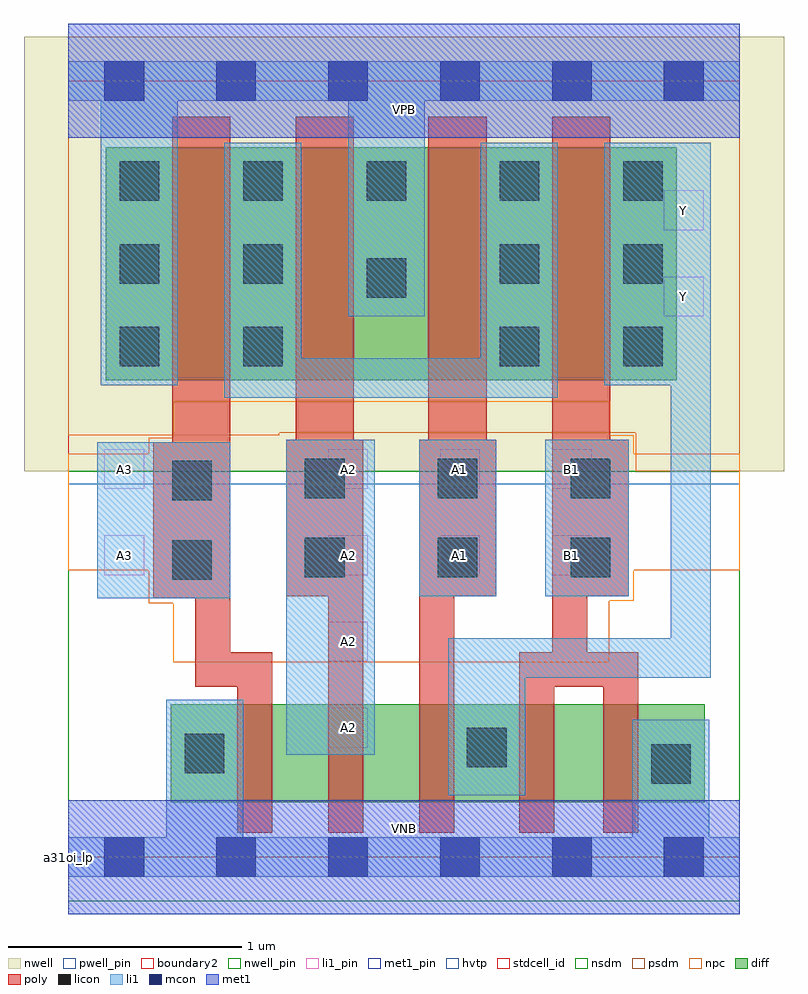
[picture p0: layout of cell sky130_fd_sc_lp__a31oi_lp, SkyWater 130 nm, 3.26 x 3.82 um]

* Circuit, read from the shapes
.subckt sky130_fd_sc_lp__a31oi_lp A1 A2 A3 B1 VGND VNB VPB VPWR Y
XM1 n1 A3 VGND VNB sky130_fd_pr__nfet_01v8 w=0.42 l=0.15
XM2 n2 A2 n1 VNB sky130_fd_pr__nfet_01v8 w=0.42 l=0.15
XM3 Y A1 n2 VNB sky130_fd_pr__nfet_01v8 w=0.42 l=0.15
XM4 n3 B1 Y VNB sky130_fd_pr__nfet_01v8 w=0.42 l=0.15
XM5 VGND B1 n3 VNB sky130_fd_pr__nfet_01v8 w=0.42 l=0.15
XM6 n4 A3 VPWR VPB sky130_fd_pr__pfet_01v8_hvt w=1 l=0.25
XM7 VPWR A2 n4 VPB sky130_fd_pr__pfet_01v8_hvt w=1 l=0.25
XM8 n4 A1 VPWR VPB sky130_fd_pr__pfet_01v8_hvt w=1 l=0.25
XM9 Y B1 n4 VPB sky130_fd_pr__pfet_01v8_hvt w=1 l=0.25
.ends

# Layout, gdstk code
import gdstk
lib = gdstk.Library(unit=1e-6, precision=1e-09)
def R(c, l, rs):  # rectangles x0, y0, x1, y1
    for r in rs: c.add(gdstk.rectangle(r[:2], r[2:], *l))
def A(c, l, x, y, w, h, nx, ny, dx, dy):  # array of equal rectangles
    R(c, l, [(x+i*dx, y+j*dy, x+i*dx+w, y+j*dy+h) for i in range(nx) for j in range(ny)])
def P(c, l, *ps):  # polygons
    for p in ps: c.add(gdstk.Polygon(p, *l))
nwell_pin = (64, 16)
nwell = (64, 20)
diff = (65, 20)
poly = (66, 20)
licon = (66, 44)
li1_pin = (67, 16)
li1 = (67, 20)
mcon = (67, 44)
met1_pin = (68, 16)
met1 = (68, 20)
hvtp = (78, 44)
stdcell_id = (81, 4)
nsdm = (93, 44)
psdm = (94, 20)
npc = (95, 20)
pwell_pin = (122, 16)
boundary2 = (236, 0)

sky130_fd_sc_lp__a31oi_l = lib.new_cell('sky130_fd_sc_lp__a31oi_lp')
R(sky130_fd_sc_lp__a31oi_l, nwell_pin, [(0,3.085,2.88,3.33)])
R(sky130_fd_sc_lp__a31oi_l, nwell, [(-0.19,1.655,3.07,3.52)])
R(sky130_fd_sc_lp__a31oi_l, diff, [(0.44,0.235,2.73,0.655), (0.16,2.045,2.61,3.045)])
P(sky130_fd_sc_lp__a31oi_l, poly, [(0.875,0.88),(0.695,0.88),(0.695,3.175),(0.445,3.175),(0.445,1.78),(0.365,1.78),(0.365,1.11),(0.545,1.11),(0.545,0.73),(0.725,0.73),(0.725,0.105),(0.875,0.105)],
  [(1.265,1.79),(1.225,1.79),(1.225,3.175),(0.975,3.175),(0.975,1.79),(0.935,1.79),(0.935,1.12),(1.115,1.12),(1.115,0.105),(1.265,0.105)],
  [(1.835,1.79),(1.795,1.79),(1.795,3.175),(1.545,3.175),(1.545,1.79),(1.505,1.79),(1.505,0.105),(1.655,0.105),(1.655,1.12),(1.835,1.12)],
  [(2.445,0.88),(2.225,0.88),(2.225,1.12),(2.405,1.12),(2.405,1.79),(2.325,1.79),(2.325,3.175),(2.075,3.175),(2.075,0.88),(1.935,0.88),(1.935,0.105),(2.085,0.105),(2.085,0.73),(2.295,0.73),(2.295,0.105),(2.445,0.105)])
A(sky130_fd_sc_lp__a31oi_l, licon, 1.015, 1.2, 0.17, 0.17, 3, 2, 0.57, 0.34)
A(sky130_fd_sc_lp__a31oi_l, licon, 1.85, 2.105, 0.17, 0.17, 1, 3, 0, 0.355)
A(sky130_fd_sc_lp__a31oi_l, licon, 2.38, 2.105, 0.17, 0.17, 1, 3, 0, 0.355)
A(sky130_fd_sc_lp__a31oi_l, licon, 0.22, 2.815, 0.17, 0.17, 3, 1, 0.53, 0)
R(sky130_fd_sc_lp__a31oi_l, licon, [(2.5,0.315,2.67,0.485), (0.5,0.36,0.67,0.53), (1.71,0.385,1.88,0.555), (0.445,1.19,0.615,1.36), (0.445,1.53,0.615,1.7), (0.22,2.105,0.39,2.275), (0.75,2.105,0.92,2.275), (1.28,2.4,1.45,2.57), (0.22,2.46,0.39,2.63), (0.75,2.46,0.92,2.63)])
A(sky130_fd_sc_lp__a31oi_l, li1_pin, 1.115, 1.21, 0.17, 0.17, 3, 2, 0.48, 0.37)
R(sky130_fd_sc_lp__a31oi_l, li1_pin, [(1.115,0.47,1.285,0.64), (1.115,0.84,1.285,1.01), (0.155,1.21,0.325,1.38), (0.155,1.58,0.325,1.75), (2.555,2.32,2.725,2.49), (2.555,2.69,2.725,2.86)])
R(sky130_fd_sc_lp__a31oi_l, li1, [(0.935,0.44,1.315,1.79), (0.125,1.11,0.695,1.78), (1.505,1.12,1.835,1.79), (2.045,1.12,2.405,1.79)])
P(sky130_fd_sc_lp__a31oi_l, li1, [(0.14,2.025),(0.14,3.245),(0,3.245),(0,3.415),(2.88,3.415),(2.88,3.245),(1.53,3.245),(1.53,2.32),(1.2,2.32),(1.2,3.245),(0.47,3.245),(0.47,2.025)],
  [(0.42,0.085),(0.42,0.675),(0.75,0.675),(0.75,0.085),(2.42,0.085),(2.42,0.59),(2.75,0.59),(2.75,0.085),(2.88,0.085),(2.88,-0.085),(0,-0.085),(0,0.085)],
  [(2.3,2.025),(2.3,3.065),(2.755,3.065),(2.755,0.77),(1.96,0.77),(1.96,0.265),(1.63,0.265),(1.63,0.94),(2.585,0.94),(2.585,2.025)],
  [(1.77,2.14),(1.77,3.065),(2.1,3.065),(2.1,1.97),(0.67,1.97),(0.67,3.065),(1,3.065),(1,2.14)])
A(sky130_fd_sc_lp__a31oi_l, mcon, 0.155, -0.085, 0.17, 0.17, 6, 2, 0.48, 3.33)
R(sky130_fd_sc_lp__a31oi_l, met1_pin, [(0,0,2.88,0.245), (0,3.085,2.88,3.33)])
R(sky130_fd_sc_lp__a31oi_l, met1, [(0,-0.245,2.88,0.245), (0,3.085,2.88,3.575)])
R(sky130_fd_sc_lp__a31oi_l, hvtp, [(0,1.6,2.88,3.33)])
R(sky130_fd_sc_lp__a31oi_l, stdcell_id, [(0,0,2.88,3.33)])
R(sky130_fd_sc_lp__a31oi_l, nsdm, [(0,-0.19,2.88,1.655)])
P(sky130_fd_sc_lp__a31oi_l, psdm, [(2.88,3.52),(0,3.52),(0,1.81),(0.905,1.81),(0.905,1.82),(2.435,1.82),(2.435,1.655),(2.88,1.655)])
P(sky130_fd_sc_lp__a31oi_l, npc, [(2.88,1.73),(2.425,1.73),(2.425,1.81),(2.32,1.81),(2.32,1.955),(0.45,1.955),(0.45,1.8),(0.345,1.8),(0.345,1.73),(0,1.73),(0,1.23),(0.345,1.23),(0.345,1.09),(0.45,1.09),(0.45,0.835),(2.32,0.835),(2.32,1.1),(2.425,1.1),(2.425,1.23),(2.88,1.23)])
R(sky130_fd_sc_lp__a31oi_l, pwell_pin, [(0,0,2.88,0.245)])
R(sky130_fd_sc_lp__a31oi_l, boundary2, [(0,0,2.88,3.33)])
sky130_fd_sc_lp__a31oi_l.add(gdstk.Label('VNB', (1.44,0.123), layer=64, texttype=59))
sky130_fd_sc_lp__a31oi_l.add(gdstk.Label('VPB', (1.44,3.208), layer=64, texttype=5))
sky130_fd_sc_lp__a31oi_l.add(gdstk.Label('a31oi_lp', (0,0), layer=83, texttype=44))
sky130_fd_sc_lp__a31oi_l.add(gdstk.Label('VPWR', (1.44,3.208), layer=68, texttype=5))
sky130_fd_sc_lp__a31oi_l.add(gdstk.Label('VGND', (1.44,0.123), layer=68, texttype=5))
sky130_fd_sc_lp__a31oi_l.add(gdstk.Label('Y', (2.64,2.405), layer=67, texttype=5))
sky130_fd_sc_lp__a31oi_l.add(gdstk.Label('Y', (2.64,2.775), layer=67, texttype=5))
sky130_fd_sc_lp__a31oi_l.add(gdstk.Label('A2', (1.2,0.555), layer=67, texttype=5))
sky130_fd_sc_lp__a31oi_l.add(gdstk.Label('A2', (1.2,0.925), layer=67, texttype=5))
sky130_fd_sc_lp__a31oi_l.add(gdstk.Label('A2', (1.2,1.295), layer=67, texttype=5))
sky130_fd_sc_lp__a31oi_l.add(gdstk.Label('A2', (1.2,1.665), layer=67, texttype=5))
sky130_fd_sc_lp__a31oi_l.add(gdstk.Label('A1', (1.68,1.295), layer=67, texttype=5))
sky130_fd_sc_lp__a31oi_l.add(gdstk.Label('A1', (1.68,1.665), layer=67, texttype=5))
sky130_fd_sc_lp__a31oi_l.add(gdstk.Label('A3', (0.24,1.295), layer=67, texttype=5))
sky130_fd_sc_lp__a31oi_l.add(gdstk.Label('A3', (0.24,1.665), layer=67, texttype=5))
sky130_fd_sc_lp__a31oi_l.add(gdstk.Label('B1', (2.16,1.295), layer=67, texttype=5))
sky130_fd_sc_lp__a31oi_l.add(gdstk.Label('B1', (2.16,1.665), layer=67, texttype=5))

lib.write_gds('sky130_fd_sc_lp__a31oi_lp.gds')
